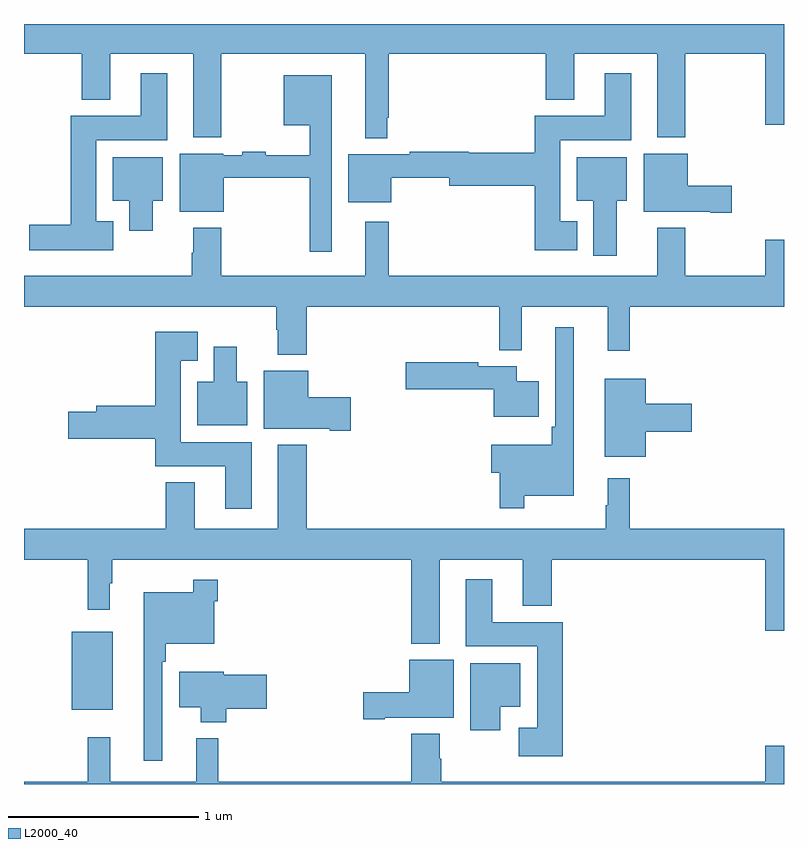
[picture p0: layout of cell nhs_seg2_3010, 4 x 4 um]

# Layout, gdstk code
import gdstk
lib = gdstk.Library(unit=1e-6, precision=1e-09)
def R(c, l, rs):  # rectangles x0, y0, x1, y1
    for r in rs: c.add(gdstk.rectangle(r[:2], r[2:], *l))
def P(c, l, *ps):  # polygons
    for p in ps: c.add(gdstk.Polygon(p, *l))
L2000_40 = (2000, 40)

nhs_seg2_3010 = lib.new_cell('nhs_seg2_3010')
R(nhs_seg2_3010, L2000_40, [(269.252,636.191,269.467,636.601)])
P(nhs_seg2_3010, L2000_40, [(270.912,639.307),(270.919,639.307),(270.919,639.644),(271.745,639.644),(271.745,639.401),(271.897,639.401),(271.897,639.644),(272.333,639.644),(272.333,639.203),(272.481,639.203),(272.481,639.644),(272.9,639.644),(272.9,639.27),(273,639.27),(273,639.8),(269,639.8),(269,639.644),(269.303,639.644),(269.303,639.401),(269.455,639.401),(269.455,639.644),(269.891,639.644),(269.891,639.203),(270.039,639.203),(270.039,639.644),(270.797,639.644),(270.797,639.2),(270.912,639.2)],
  [(269.47,638.761),(269.38,638.761),(269.38,639.188),(269.755,639.188),(269.755,639.541),(269.615,639.541),(269.615,639.316),(269.246,639.316),(269.246,638.744),(269.028,638.744),(269.028,638.609),(269.47,638.609)],
  [(271.912,638.761),(271.822,638.761),(271.822,639.188),(272.197,639.188),(272.197,639.541),(272.057,639.541),(272.057,639.316),(271.688,639.316),(271.688,639.122),(271.342,639.122),(271.342,639.128),(271.03,639.128),(271.03,639.115),(270.707,639.115),(270.707,638.861),(270.934,638.861),(270.934,638.992),(271.238,638.992),(271.238,638.95),(271.688,638.95),(271.688,638.609),(271.912,638.609)],
  [(270.619,639.529),(270.368,639.529),(270.368,639.266),(270.505,639.266),(270.505,639.109),(270.272,639.109),(270.272,639.128),(270.148,639.128),(270.148,639.108),(270.048,639.108),(270.048,639.118),(269.819,639.118),(269.819,638.813),(270.052,638.813),(270.052,638.992),(270.505,638.992),(270.505,638.601),(270.619,638.601)],
  [(272.725,638.948),(272.494,638.948),(272.494,639.118),(272.261,639.118),(272.261,638.813),(272.612,638.813),(272.612,638.806),(272.725,638.806)],
  [(272.119,638.87),(272.173,638.87),(272.173,639.1),(271.91,639.1),(271.91,638.87),(271.997,638.87),(271.997,638.58),(272.119,638.58)],
  [(269.677,638.87),(269.731,638.87),(269.731,639.1),(269.468,639.1),(269.468,638.87),(269.555,638.87),(269.555,638.712),(269.677,638.712)],
  [(270.488,638.312),(271.501,638.312),(271.501,638.084),(271.619,638.084),(271.619,638.312),(272.072,638.312),(272.072,638.079),(272.189,638.079),(272.189,638.312),(273,638.312),(273,638.665),(272.9,638.665),(272.9,638.476),(272.481,638.476),(272.481,638.728),(272.333,638.728),(272.333,638.476),(270.919,638.476),(270.919,638.758),(270.797,638.758),(270.797,638.476),(270.039,638.476),(270.039,638.728),(269.891,638.728),(269.891,638.597),(269.884,638.597),(269.884,638.476),(269,638.476),(269,638.312),(270.328,638.312),(270.328,638.192),(270.335,638.192),(270.335,638.06),(270.488,638.06)],
  [(271.633,637.316),(271.894,637.316),(271.894,638.203),(271.797,638.203),(271.797,637.681),(271.777,637.681),(271.777,637.585),(271.46,637.585),(271.46,637.438),(271.504,637.438),(271.504,637.251),(271.633,637.251)],
  [(270.199,637.6),(269.824,637.6),(269.824,638.027),(269.914,638.027),(269.914,638.179),(269.69,638.179),(269.69,637.79),(269.381,637.79),(269.381,637.76),(269.232,637.76),(269.232,637.618),(269.69,637.618),(269.69,637.472),(270.059,637.472),(270.059,637.248),(270.199,637.248)],
  [(270.175,637.918),(270.121,637.918),(270.121,638.101),(269.999,638.101),(269.999,637.918),(269.912,637.918),(269.912,637.688),(270.175,637.688)],
  [(271.708,637.921),(271.594,637.921),(271.594,637.999),(271.392,637.999),(271.392,638.019),(271.008,638.019),(271.008,637.877),(271.472,637.877),(271.472,637.733),(271.708,637.733)],
  [(270.721,637.836),(270.496,637.836),(270.496,637.975),(270.263,637.975),(270.263,637.67),(270.608,637.67),(270.608,637.658),(270.721,637.658)],
  [(272.272,637.655),(272.515,637.655),(272.515,637.802),(272.272,637.802),(272.272,637.933),(272.057,637.933),(272.057,637.523),(272.272,637.523)],
  [(271.189,636.98),(271.625,636.98),(271.625,636.737),(271.778,636.737),(271.778,636.98),(272.9,636.98),(272.9,636.606),(273,636.606),(273,637.144),(272.189,637.144),(272.189,637.408),(272.072,637.408),(272.072,637.268),(272.061,637.268),(272.061,637.144),(270.488,637.144),(270.488,637.585),(270.335,637.585),(270.335,637.144),(269.899,637.144),(269.899,637.387),(269.747,637.387),(269.747,637.144),(269,637.144),(269,636.98),(269.335,636.98),(269.335,636.717),(269.452,636.717),(269.452,636.857),(269.464,636.857),(269.464,636.98),(271.037,636.98),(271.037,636.539),(271.189,636.539)],
  [(271.835,636.652),(271.465,636.652),(271.465,636.877),(271.325,636.877),(271.325,636.524),(271.7,636.524),(271.7,636.097),(271.605,636.097),(271.605,635.945),(271.835,635.945)],
  [(269.727,636.443),(269.747,636.443),(269.747,636.539),(270,636.539),(270,636.761),(270.02,636.761),(270.02,636.874),(269.892,636.874),(269.892,636.808),(269.63,636.808),(269.63,635.922),(269.727,635.922)],
  [(270.898,636.149),(271.261,636.149),(271.261,636.454),(271.028,636.454),(271.028,636.284),(270.786,636.284),(270.786,636.142),(270.898,636.142)],
  [(271.507,636.206),(271.612,636.206),(271.612,636.436),(271.349,636.436),(271.349,636.084),(271.507,636.084)],
  [(270.065,636.196),(270.277,636.196),(270.277,636.374),(270.052,636.374),(270.052,636.391),(269.816,636.391),(269.816,636.203),(269.93,636.203),(269.93,636.125),(270.065,636.125)],
  [(273,636.001),(272.9,636.001),(272.9,635.812),(271.197,635.812),(271.197,635.933),(271.189,635.933),(271.189,636.064),(271.037,636.064),(271.037,635.812),(270.023,635.812),(270.023,636.04),(269.906,636.04),(269.906,635.812),(269.453,635.812),(269.453,636.046),(269.335,636.046),(269.335,635.812),(269,635.812),(269,635.8),(273,635.8)])

lib.write_gds('nhs_seg2_3010.gds')
